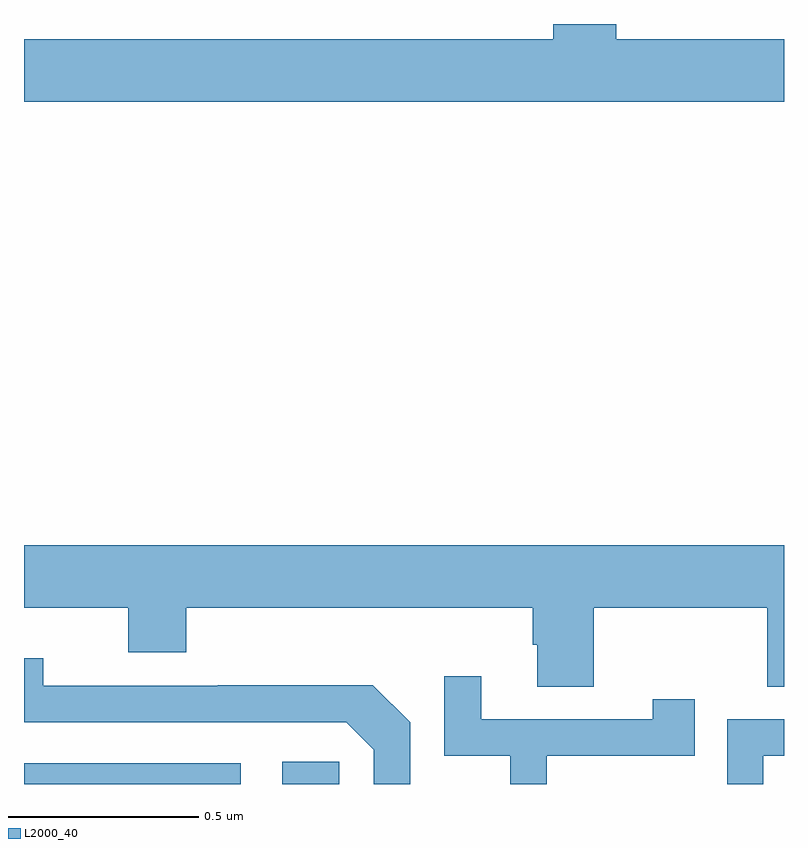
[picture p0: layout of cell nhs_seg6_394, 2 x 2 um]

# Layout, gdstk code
import gdstk
lib = gdstk.Library(unit=1e-6, precision=1e-09)
def R(c, l, rs):  # rectangles x0, y0, x1, y1
    for r in rs: c.add(gdstk.rectangle(r[:2], r[2:], *l))
def P(c, l, *ps):  # polygons
    for p in ps: c.add(gdstk.Polygon(p, *l))
L2000_40 = (2000, 40)

nhs_seg6_394 = lib.new_cell('nhs_seg6_394')
R(nhs_seg6_394, L2000_40, [(115,985.5,115.57,985.554), (115.68,985.5,115.83,985.558)])
P(nhs_seg6_394, L2000_40, [(117,987.46),(116.558,987.46),(116.558,987.5),(116.393,987.5),(116.393,987.46),(115,987.46),(115,987.296),(117,987.296)],
  [(116.499,985.964),(116.956,985.964),(116.956,985.756),(117,985.756),(117,986.128),(115,986.128),(115,985.964),(115.274,985.964),(115.274,985.847),(115.427,985.847),(115.427,985.964),(116.339,985.964),(116.339,985.866),(116.351,985.866),(116.351,985.756),(116.499,985.756)],
  [(116.016,985.662),(115.918,985.76),(115.51,985.76),(115.51,985.758),(115.05,985.758),(115.05,985.831),(115,985.831),(115,985.662),(115.848,985.662),(115.92,985.59),(115.92,985.5),(116.016,985.5)],
  [(116.376,985.575),(116.765,985.575),(116.765,985.723),(116.654,985.723),(116.654,985.671),(116.203,985.671),(116.203,985.783),(116.106,985.783),(116.106,985.575),(116.28,985.575),(116.28,985.5),(116.376,985.5)],
  [(116.946,985.575),(117,985.575),(117,985.671),(116.85,985.671),(116.85,985.5),(116.946,985.5)])

lib.write_gds('nhs_seg6_394.gds')
